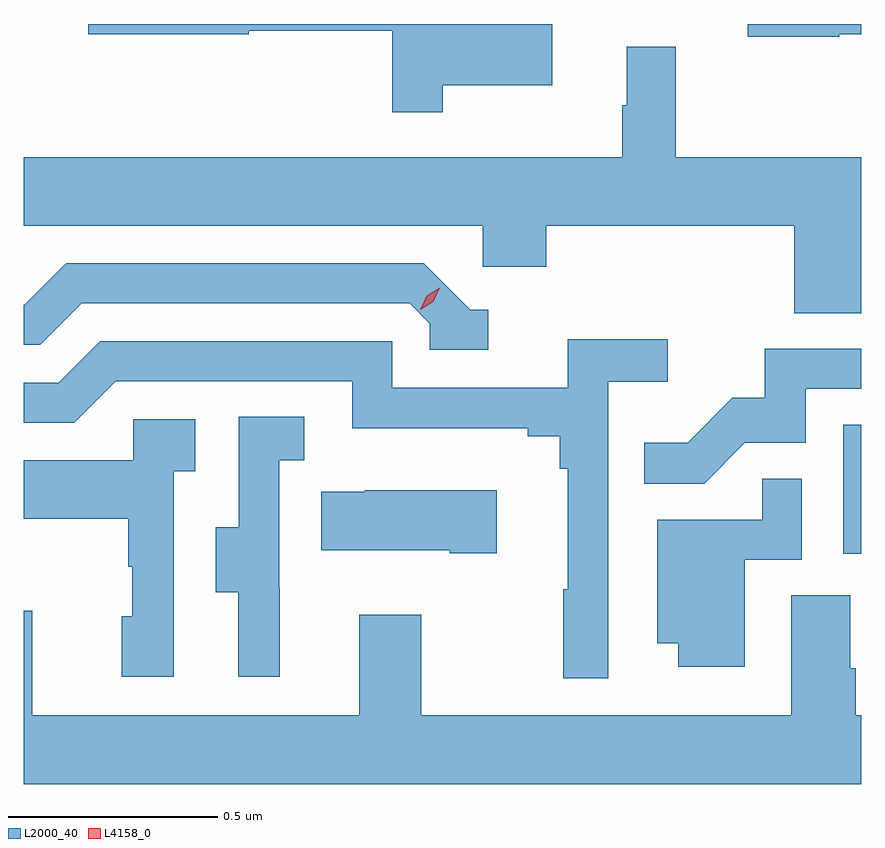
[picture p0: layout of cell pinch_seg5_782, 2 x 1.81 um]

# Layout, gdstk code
import gdstk
lib = gdstk.Library(unit=1e-6, precision=1e-09)
def R(c, l, rs):  # rectangles x0, y0, x1, y1
    for r in rs: c.add(gdstk.rectangle(r[:2], r[2:], *l))
def P(c, l, *ps):  # polygons
    for p in ps: c.add(gdstk.Polygon(p, *l))
L2000_40 = (2000, 40)
L4158_0 = (4158, 0)

pinch_seg5_782 = lib.new_cell('pinch_seg5_782')
R(pinch_seg5_782, L2000_40, [(854.45,899.934,854.494,900.241)])
P(pinch_seg5_782, L2000_40, [(854.441,901.173),(854.494,901.173),(854.494,901.198),(854.223,901.198),(854.223,901.168),(854.441,901.168)],
  [(853.495,901.052),(853.756,901.052),(853.756,901.198),(852.648,901.198),(852.648,901.174),(853.032,901.174),(853.032,901.182),(853.374,901.182),(853.374,900.987),(853.495,900.987)],
  [(854.494,900.88),(854.051,900.88),(854.051,901.144),(853.934,901.144),(853.934,901.004),(853.923,901.004),(853.923,900.88),(852.494,900.88),(852.494,900.716),(853.59,900.716),(853.59,900.618),(853.742,900.618),(853.742,900.716),(854.333,900.716),(854.333,900.508),(854.494,900.508)],
  [(853.603,900.516),(853.56,900.516),(853.449,900.627),(852.596,900.627),(852.497,900.528),(852.494,900.528),(852.494,900.432),(852.534,900.432),(852.633,900.531),(853.416,900.531),(853.464,900.483),(853.464,900.42),(853.603,900.42)],
  [(853.89,900.344),(854.032,900.344),(854.032,900.446),(853.793,900.446),(853.793,900.33),(853.374,900.33),(853.374,900.441),(852.677,900.441),(852.578,900.342),(852.494,900.342),(852.494,900.246),(852.615,900.246),(852.714,900.345),(853.278,900.345),(853.278,900.233),(853.697,900.233),(853.697,900.214),(853.774,900.214),(853.774,900.137),(853.793,900.137),(853.793,899.849),(853.782,899.849),(853.782,899.637),(853.89,899.637)],
  [(854.216,900.198),(854.361,900.198),(854.361,900.327),(854.494,900.327),(854.494,900.423),(854.263,900.423),(854.263,900.306),(854.186,900.306),(854.079,900.199),(853.975,900.199),(853.975,900.101),(854.119,900.101)],
  [(853.106,899.853),(853.104,899.853),(853.104,900.157),(853.164,900.157),(853.164,900.26),(853.008,900.26),(853.008,899.997),(852.953,899.997),(852.953,899.842),(853.007,899.842),(853.007,899.64),(853.106,899.64)],
  [(852.852,900.131),(852.904,900.131),(852.904,900.255),(852.756,900.255),(852.756,900.157),(852.494,900.157),(852.494,900.017),(852.744,900.017),(852.744,899.903),(852.754,899.903),(852.754,899.784),(852.728,899.784),(852.728,899.64),(852.852,899.64)],
  [(854.215,899.919),(854.352,899.919),(854.352,900.113),(854.257,900.113),(854.257,900.015),(854.006,900.015),(854.006,899.72),(854.057,899.72),(854.057,899.664),(854.215,899.664)],
  [(853.624,900.085),(853.309,900.085),(853.309,900.082),(853.204,900.082),(853.204,899.942),(853.511,899.942),(853.511,899.935),(853.624,899.935)],
  [(854.494,899.548),(854.48,899.548),(854.48,899.66),(854.467,899.66),(854.467,899.834),(854.327,899.834),(854.327,899.548),(853.443,899.548),(853.443,899.788),(853.295,899.788),(853.295,899.548),(852.515,899.548),(852.515,899.797),(852.494,899.797),(852.494,899.384),(854.494,899.384)])
P(pinch_seg5_782, L4158_0, [(853.441,900.516),(853.441,900.516),(853.457,900.549),(853.488,900.568),(853.488,900.568),(853.488,900.568),(853.472,900.535),(853.441,900.516)])

lib.write_gds('pinch_seg5_782.gds')
